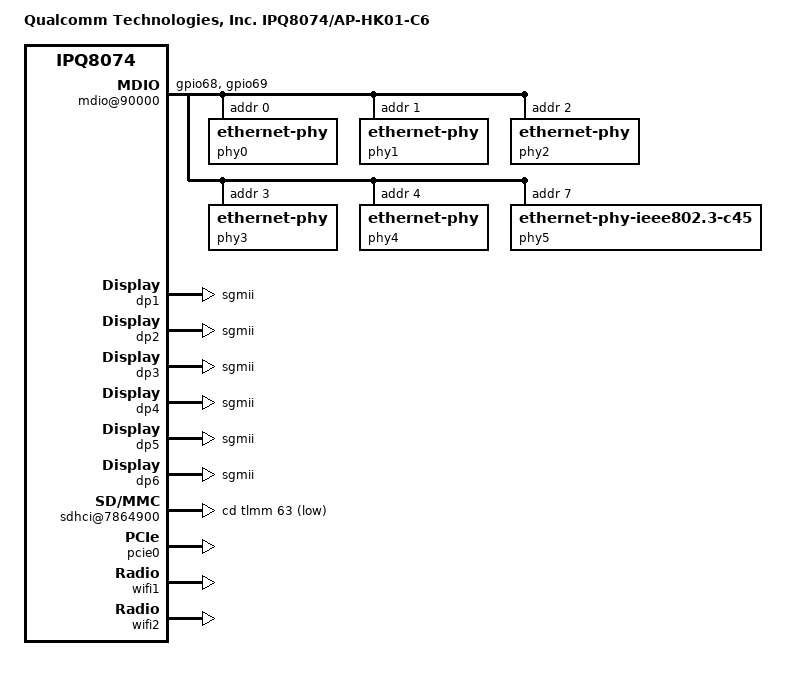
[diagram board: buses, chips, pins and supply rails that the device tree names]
// SPDX-License-Identifier: GPL-2.0-only
/dts-v1/;
/* Copyright (c) 2017, 2020-2021, The Linux Foundation. All rights reserved.
 */
#include "ipq8074-hk01.dtsi"

/ {
	model = "Qualcomm Technologies, Inc. IPQ8074/AP-HK01-C6";
	compatible = "qcom,ipq8074-ap-hk01-c6", "qcom,ipq8074-hk01", "qcom,ipq8074";

	aliases {
		serial1 = &blsp1_uart3;
		/*
		 * Aliases as required by u-boot
		 * to patch MAC addresses
		 */
		ethernet0 = "/soc/dp1";
		ethernet1 = "/soc/dp2";
		ethernet2 = "/soc/dp3";
		ethernet3 = "/soc/dp4";
		ethernet4 = "/soc/dp5";
		ethernet5 = "/soc/dp6";
	};

	chosen {
#ifndef __IPQ_MEM_PROFILE_256_MB__
			bootargs-append = " vmalloc=600M";
#endif
	};

	reserved-memory {
/* No Pine attach in 256M profile */
#if !defined(__IPQ_MEM_PROFILE_256_MB__)
#ifdef __IPQ_MEM_PROFILE_512_MB__
	/*                      512 MB Profile
	 * +========+==============+=========================+
	 * | Region | Start Offset |          Size           |
	 * +--------+--------------+-------------------------+
	 * |  NSS   |  0x40000000  |          16MB           |
	 * +--------+--------------+-------------------------+
	 * |        |              |                         |
	 * | Linux  |  0x41000000  | Depends on total memory |
	 * |        |              |                         |
	 * +--------+--------------+-------------------------+
	 * | TZ APP |  0x4A400000  |           1MB           |
	 * +--------+--------------+-------------------------+
	 * | uboot  |  0x4A600000  |           4MB           |
	 * +--------+--------------+-------------------------+
	 * |  SBL   |  0x4AA00000  |           1MB           |
	 * +--------+--------------+-------------------------+
	 * |  smem  |  0x4AB00000  |           1MB           |
	 * +--------+--------------+-------------------------+
	 * |   TZ   |  0x4AC00000  |           4MB           |
	 * +--------+--------------+-------------------------+
	 * |   Q6   |  0x4B000000  |          55MB           |
	 * +--------+--------------+-------------------------+
	 * |  QDSS  |  0x4E700000  |           1MB           |
	 * +--------+--------------+-------------------------+
	 * | M3 Dump|  0x4E800000  |           1MB           |
	 * +--------+--------------+-------------------------+
	 * |  Pine  |  0x4E900000  |          26MB           |
	 * +--------+--------------+-------------------------+
	 * |  MHI0  |  0x50300000  |           9MB           |
	 * +--------+--------------+-------------------------+
	 * |                                                 |
	 * |      Rest of the memory for Linux               |
	 * |                                                 |
	 * +=================================================+
	 */
		qcn9000_pcie0: qcn9000_pcie0@4e900000 {
			no-map;
			reg = <0x0 0x4e900000 0x0 0x01A00000>;
		};

#if defined(__CNSS2__)
		mhi_region0: dma_pool0@50300000 {
			compatible = "shared-dma-pool";
			no-map;
			reg = <0x0 0x50300000 0x0 0x00900000>;
		};
#endif
#else
	/*                   Default Profile
	 * +========+==============+=========================+
	 * | Region | Start Offset |          Size           |
	 * +--------+--------------+-------------------------+
	 * |  NSS   |  0x40000000  |          16MB           |
	 * +--------+--------------+-------------------------+
	 * | Linux  |  0x41000000  | Depends on total memory |
	 * +--------+--------------+-------------------------+
	 * | TZ APP |  0x4A400000  |           2MB           |
	 * +--------+--------------+-------------------------+
	 * | uboot  |  0x4A600000  |           4MB           |
	 * +--------+--------------+-------------------------+
	 * |  SBL   |  0x4AA00000  |           1MB           |
	 * +--------+--------------+-------------------------+
	 * |  smem  |  0x4AB00000  |           1MB           |
	 * +--------+--------------+-------------------------+
	 * |   TZ   |  0x4AC00000  |           4MB           |
	 * +--------+--------------+-------------------------+
	 * |   Q6   |  0x4B000000  |          95MB           |
	 * +--------+--------------+-------------------------+
	 * |  QDSS  |  0x50F00000  |           1MB           |
	 * +--------+--------------+-------------------------+
	 * | M3 Dump|  0x51000000  |           1MB           |
	 * +--------+--------------+-------------------------+
	 * |  Pine0 |  0x51100000  |          53MB           |
	 * +--------+--------------+-------------------------+
	 * |  MHI0  |  0x54600000  |           9MB           |
	 * +--------+--------------+-------------------------+
	 * |                                                 |
	 * |          Rest of the memory for Linux           |
	 * |                                                 |
	 * +=================================================+
	 */
		qcn9000_pcie0: qcn9000_pcie0@51100000 {
			no-map;
			reg = <0x0 0x51100000 0x0 0x03500000>;
		};

#if defined(__CNSS2__)
		mhi_region0: dma_pool0@54600000 {
			compatible = "shared-dma-pool";
			no-map;
			reg = <0x0 0x54600000 0x0 0x00900000>;
		};
#endif
#endif
#endif
	};

	soc {

		pinctrl@1000000 {
			pcie0_pins: pcie_pins {
				pcie0_rst {
					pins = "gpio58";
					function = "pcie0_rst";
					drive-strength = <8>;
					bias-pull-down;
				};
				pcie0_wake {
					pins = "gpio59";
					function = "pcie0_wake";
					drive-strength = <8>;
					bias-pull-down;
				};
			};

			mdio_pins: mdio_pinmux {
				mux_0 {
					pins = "gpio68";
					function = "mdc";
					drive-strength = <8>;
					bias-pull-up;
				};
				mux_1 {
					pins = "gpio69";
					function = "mdio";
					drive-strength = <8>;
					bias-pull-up;
				};
			};

		};

		mdio@90000 {
			pinctrl-0 = <&mdio_pins>;
			pinctrl-names = "default";
			phy-reset-gpio = <&tlmm 37 0>;
			phy0: ethernet-phy@0 {
				reg = <0>;
			};
			phy1: ethernet-phy@1 {
				reg = <1>;
			};
			phy2: ethernet-phy@2 {
				reg = <2>;
			};
			phy3: ethernet-phy@3 {
				reg = <3>;
			};
			phy4: ethernet-phy@4 {
				reg = <4>;
			};
			phy5: ethernet-phy@5 {
				compatible ="ethernet-phy-ieee802.3-c45";
				reg = <7>;
			};
		};

		ess-switch@3a000000 {
			switch_cpu_bmp = <0x1>;  /* cpu port bitmap */
			switch_lan_bmp = <0x3e>; /* lan port bitmap */
			switch_wan_bmp = <0x40>; /* wan port bitmap */
			switch_mac_mode = <0x0>; /* mac mode for uniphy instance0*/
			switch_mac_mode1 = <0xff>; /* mac mode for uniphy instance1*/
			switch_mac_mode2 = <0xd>; /* mac mode for uniphy instance2*/
			bm_tick_mode = <0>; /* bm tick mode */
			tm_tick_mode = <0>; /* tm tick mode */
		};

		dp1 {
			device_type = "network";
			compatible = "qcom,nss-dp";
			qcom,id = <1>;
			reg = <0x3a001000 0x200>;
			qcom,mactype = <0>;
			local-mac-address = [000000000000];
			qcom,link-poll = <1>;
			qcom,phy-mdio-addr = <0>;
			phy-mode = "sgmii";
		};

		dp2 {
			device_type = "network";
			compatible = "qcom,nss-dp";
			qcom,id = <2>;
			reg = <0x3a001200 0x200>;
			qcom,mactype = <0>;
			local-mac-address = [000000000000];
			qcom,link-poll = <1>;
			qcom,phy-mdio-addr = <1>;
			phy-mode = "sgmii";
		};

		dp3 {
			device_type = "network";
			compatible = "qcom,nss-dp";
			qcom,id = <3>;
			reg = <0x3a001400 0x200>;
			qcom,mactype = <0>;
			local-mac-address = [000000000000];
			qcom,link-poll = <1>;
			qcom,phy-mdio-addr = <2>;
			phy-mode = "sgmii";
		};

		dp4 {
			device_type = "network";
			compatible = "qcom,nss-dp";
			qcom,id = <4>;
			reg = <0x3a001600 0x200>;
			qcom,mactype = <0>;
			local-mac-address = [000000000000];
			qcom,link-poll = <1>;
			qcom,phy-mdio-addr = <3>;
			phy-mode = "sgmii";
		};

		dp5 {
			device_type = "network";
			compatible = "qcom,nss-dp";
			qcom,id = <5>;
			reg = <0x3a001800 0x200>;
			qcom,mactype = <0>;
			local-mac-address = [000000000000];
			qcom,link-poll = <1>;
			qcom,phy-mdio-addr = <4>;
			phy-mode = "sgmii";
		};

		dp6 {
			device_type = "network";
			compatible = "qcom,nss-dp";
			qcom,id = <6>;
			reg = <0x3a007000 0x3fff>;
			qcom,mactype = <1>;
			local-mac-address = [000000000000];
			qcom,link-poll = <1>;
			qcom,phy-mdio-addr = <7>;
			phy-mode = "sgmii";
		};

		sd-pwrseq {
			status = "ok";
		};

		sdhci@7864900 {
			pinctrl-0 = <&sd_pins>;
			pinctrl-names = "default";
			cd-gpios = <&tlmm 63 GPIO_ACTIVE_LOW>;
			status = "ok";
		};

		pwm {
			pinctrl-0 = <&pwm_pins>;
			pinctrl-names = "default";
			used-pwm-indices = <1>, <0>, <0>, <0>;
			status = "disabled";
		};

		qcom,test@0 {
			status = "ok";
		};

	};
};

&pcie0 {
        status = "ok";

        pcie0_rp: pcie0_rp {
                reg = <0 0 0 0 0>;

		qcom,mhi@0 {
			reg = <0 0 0 0 0>;
			qrtr_instance_id = <0x20>;
#if defined(__CNSS2__)
#if !defined(__IPQ_MEM_PROFILE_256_MB__)
			memory-region = <0>,<&mhi_region0>;
#endif
#endif
		};
	};
};

&pcie1 {
	status = "disabled";
};

&wifi0 {
	status = "disabled";
};

&wifi1 {
	qcom,board_id = <0x215>;
	status = "ok";
};

#if !defined(__IPQ_MEM_PROFILE_256_MB__)
&wifi2 {
#ifdef __IPQ_MEM_PROFILE_512_MB__
      /* QCN9000 tgt-mem-mode=1 layout - 26MB
       * +=========+==============+=========+
       * |  Region | Start Offset |   Size  |
       * +---------+--------------+---------+
       * | HREMOTE |  0x4E900000  |   12MB  |
       * +---------+--------------+---------+
       * | M3 Dump |  0x4F500000  |   1MB   |
       * +---------+--------------+---------+
       * |   ETR   |  0x4F600000  |   1MB   |
       * +---------+--------------+---------+
       * |  Caldb  |  0x4F700000  |   8MB   |
       * +---------+--------------+---------+
       * | Pageable|  0x4FF00000  |   4MB   |
       * +==================================+
       */
	base-addr = <0x4E900000>;
	m3-dump-addr = <0x4F500000>;
	etr-addr = <0x4F600000>;
	caldb-addr = <0x4F700000>;
	pageable-addr = <0x4FF00000>;
	hremote-size = <0xC00000>;
	tgt-mem-mode = <0x1>;
	pageable-size = <0x400000>;
#else
      /* QCN9000 tgt-mem-mode=0 layout - 45MB
       * +=========+==============+=========+
       * |  Region | Start Offset |   Size  |
       * +---------+--------------+---------+
       * | HREMOTE |  0x51100000  |   35MB  |
       * +---------+--------------+---------+
       * | M3 DUMP |  0x53400000  |   1MB   |
       * +---------+--------------+---------+
       * |   ETR   |  0x53500000  |   1MB   |
       * +---------+--------------+---------+
       * |  Caldb  |  0x53600000  |   8MB   |
       * +---------+--------------+---------+
       * | Pageable|  0x53E00000  |   8MB   |
       * +==================================+
       */
	base-addr = <0x51100000>;
	m3-dump-addr = <0x53400000>;
	etr-addr = <0x53500000>;
	caldb-addr = <0x53600000>;
	pageable-addr = <0x53E00000>;
	hremote-size = <0x2300000>;
	tgt-mem-mode = <0x0>;
	pageable-size = <0x800000>;
#endif
	caldb-size = <0x800000>;
	hremote_node = <&qcn9000_pcie0>;
	board_id = <0xa4>;
	status = "ok";
};
#endif

&wifi3 {
	status = "disabled";
};
